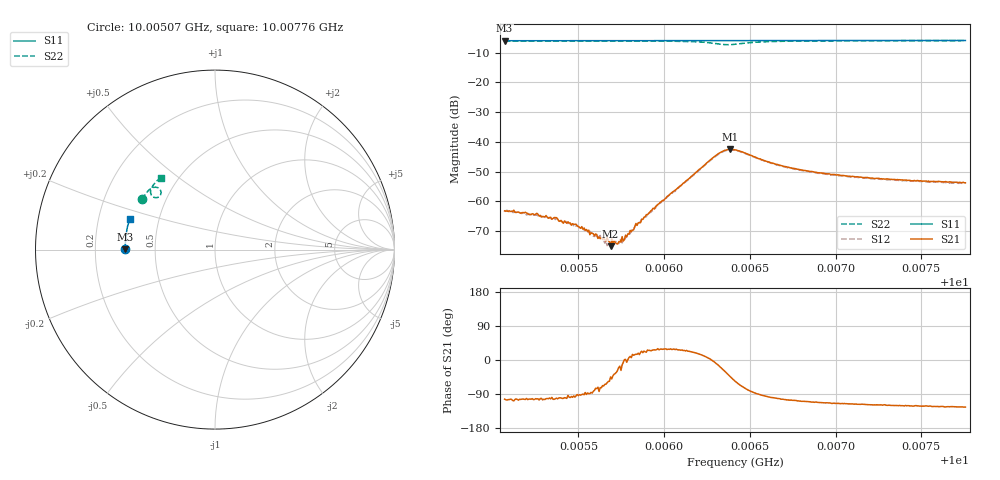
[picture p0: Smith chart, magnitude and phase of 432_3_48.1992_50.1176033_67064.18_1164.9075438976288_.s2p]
#  HZ  S  RI  R  50.00
! Rohde & Schwarz Vector Network Analyzer
! Rohde-Schwarz,ZNB20-2Port,1311601062101988,3.16
! Created: UTC 3/20/2024, 11:55:23 AM
! freq[Hz]  re:S11  im:S11  re:S21  im:S21  re:S12  im:S12  re:S22  im:S22
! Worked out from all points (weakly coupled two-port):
!   401 points, 10.00507 GHz to 10.00776 GHz, reference 50 ohm
!   highest |S21| = -42.54 dB at 10.00639 GHz (marker M1); lowest = -75.1 dB at 10.00569 GHz (marker M2)
!   lowest |S11| = -6.0 dB at 10.00507 GHz (marker M3), VSWR 3.00, Z = 16.7 + j0.0877 ohm
!   |S11| at or under -10 dB: nowhere
!   |S22| runs from -7.4 to -6.0 dB; largest |S21 - S12| = 0.00045
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1.000507e10  -0.4999 0.00197  -0.000159 -0.000674  -0.000144 -0.000658  -0.4069 0.2816
1.0005251e10  -0.5002 0.0138  -0.000127 -0.000596  -0.000111 -0.000576  -0.3999 0.2922
1.0005365e10  -0.5002 0.0211  -0.000115 -0.000521  -5.33e-05 -0.000492  -0.3955 0.299
1.0005399e10  -0.5002 0.0235  -8.24e-05 -0.000469  -4.81e-05 -0.000476  -0.394 0.301
1.000548e10  -0.5 0.0286  -5.65e-05 -0.000408  -3.06e-05 -0.000408  -0.3904 0.3058
1.000552e10  -0.4999 0.0312  -7.88e-06 -0.000377  -5.39e-06 -0.000364  -0.3886 0.3083
1.0005601e10  -0.4998 0.0364  7.5e-05 -0.000274  5.43e-05 -0.000266  -0.3848 0.3133
1.0005627e10  -0.4998 0.0382  6.93e-05 -0.000226  9.19e-05 -0.000251  -0.3835 0.3148
1.0005661e10  -0.4995 0.0404  9.59e-05 -0.000195  0.000117 -0.000187  -0.3818 0.3169
1.0005688e10  -0.4995 0.0421  0.000126 -0.000124  0.000111 -0.000142  -0.3802 0.3186
1.0005735e10  -0.4994 0.0452  0.000192 -7.02e-05  0.00018 -7.32e-05  -0.3778 0.3215
1.0005775e10  -0.4992 0.0479  0.000271 7.46e-06  0.000244 1.22e-05  -0.3754 0.3241
1.0005842e10  -0.4989 0.052  0.000382 0.000103  0.000405 0.000126  -0.3712 0.3284
1.000597e10  -0.4981 0.0604  0.000812 0.000411  0.000786 0.000431  -0.3613 0.3369
1.0006299e10  -0.4953 0.0816  0.00577 -0.000774  0.00567 -0.000435  -0.3035 0.3304
1.0006346e10  -0.4949 0.0843  0.00632 -0.00312  0.00633 -0.00271  -0.3018 0.3093
1.0006387e10  -0.4946 0.0867  0.00534 -0.00522  0.00547 -0.00486  -0.314 0.2935
1.0006414e10  -0.4943 0.0883  0.00412 -0.00608  0.00439 -0.00574  -0.3259 0.2894
1.0006635e10  -0.4926 0.1024  -0.000714 -0.00431  -0.000491 -0.00424  -0.3586 0.3274
1.0006864e10  -0.4899 0.117  -0.00114 -0.00296  -0.000944 -0.00292  -0.3489 0.3517
1.0007314e10  -0.4832 0.1455  -0.00115 -0.00205  -0.00105 -0.00207  -0.3262 0.3798
1.0007758e10  -0.4749 0.1726  -0.00115 -0.0017  -0.00107 -0.00174  -0.3035 0.401
